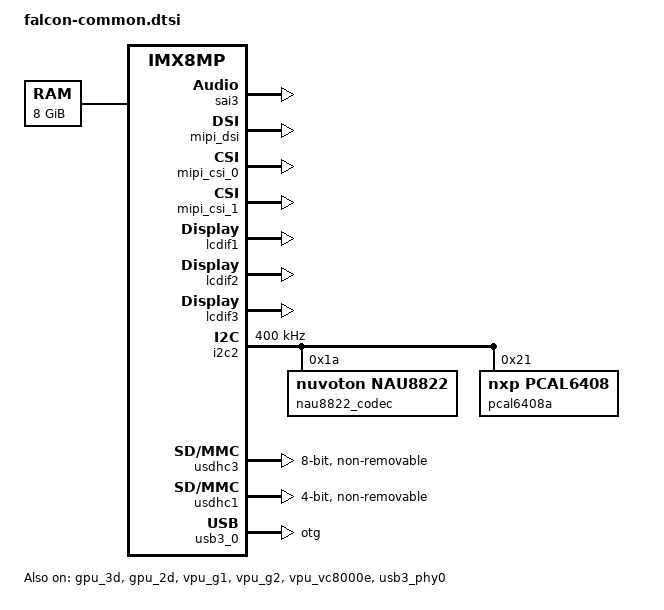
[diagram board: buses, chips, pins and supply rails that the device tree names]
/* * falcon-common.dtsi  Grade SoM Base
 * Targets: falcon s1 series boards
 */

#include "imx8mp.dtsi"


/ {
    /* Explicit 8GB RAM */
    memory@40000000 {
        device_type = "memory";
        reg = <0x0 0x40000000 0x2 0x00000000>; 
    };

    /* Audio setup for NAU8822 Codec */
    sound-nau8822 {
        compatible = "simple-audio-card";
        simple-audio-card,name = "nau8822-audio";
        simple-audio-card,format = "i2s";
        simple-audio-card,bitclock-master = <&dailink_master>;
        simple-audio-card,frame-master = <&dailink_master>;
        simple-audio-card,cpu { sound-dai = <&sai3>; };
        dailink_master: simple-audio-card,codec {
            sound-dai = <&nau8822_codec>;
            clocks = <&audio_blk_ctrl IMX8MP_CLK_AUDIOMIX_SAI3_MCLK1>;
        };
    };
};

&sai3 {
    #sound-dai-cells = <0>;
    status = "okay";
};

/* MULTIMEDIA STACK */
&gpu_3d { status = "okay"; };    /* Vivante GC7000UL GPU */
&gpu_2d { status = "okay"; };    /* 2D Graphics Accelerator */
&vpu_g1 {
    status = "okay";
};

&vpu_g2 {
    status = "okay";
};

&vpu_vc8000e {
    status = "okay";
};

/*  INTERFACES */
&mipi_dsi { status = "okay"; };
&mipi_csi_0 { status = "okay"; };
&mipi_csi_1 { status = "okay"; };
&lcdif1 { status = "okay"; };
&lcdif2 { status = "okay"; };
&lcdif3 { status = "okay"; };

/*  I/O & BUSES  */
&i2c2 {
    status = "okay";
    clock-frequency = <400000>;
    
    nau8822_codec: nau8822@1a {
        compatible = "nuvoton,nau8822";
        reg = <0x1a>;
        clocks = <&audio_blk_ctrl IMX8MP_CLK_AUDIOMIX_SAI3_MCLK1>;
        clock-names = "mclk";
        #sound-dai-cells = <0>;
    };

    pcal6408a: gpio@21 {
        compatible = "nxp,pcal6408";
        reg = <0x21>;
        gpio-controller;
        #gpio-cells = <2>;
        /* WiFi Power Enable Logic */
        wifi_pwr_hog {
            gpio-hog;
            gpios = <0 0>;
            output-high;
            line-name = "wifi-pwr-en";
        };
    };
};

/* Storage */
&usdhc3 { bus-width = <8>; non-removable; status = "okay"; }; /* eMMC */
&usdhc1 { bus-width = <4>; non-removable; status = "okay"; }; /* WiFi */

/* USB */
&usb3_phy0 { status = "okay"; };
&usb3_0 { status = "okay"; dr_mode = "otg"; };
